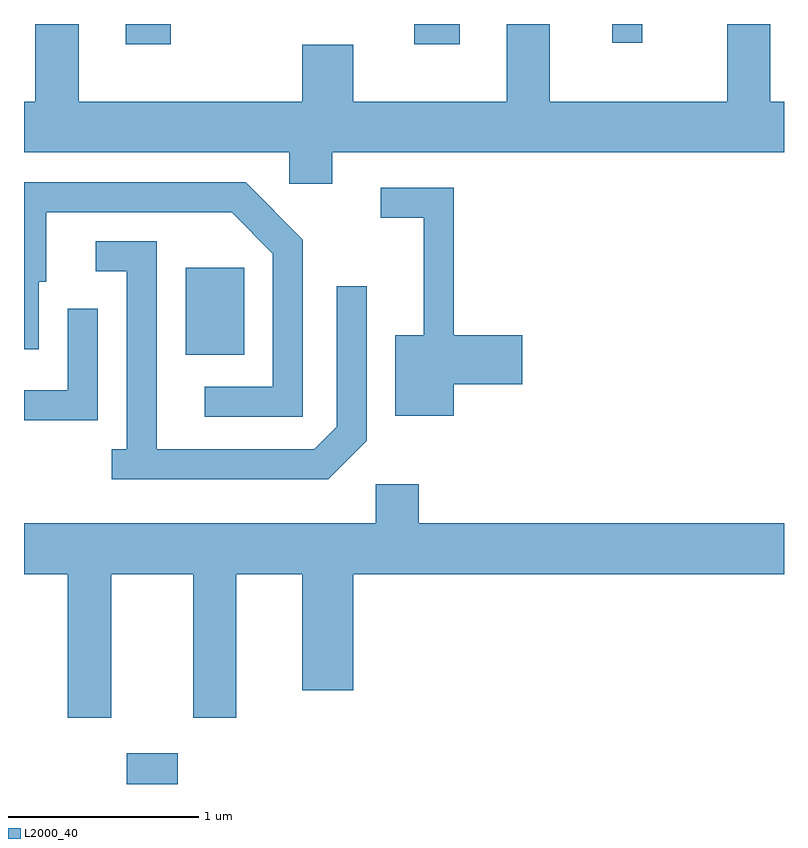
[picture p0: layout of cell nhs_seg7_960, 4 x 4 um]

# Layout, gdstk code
import gdstk
lib = gdstk.Library(unit=1e-6, precision=1e-09)
def R(c, l, rs):  # rectangles x0, y0, x1, y1
    for r in rs: c.add(gdstk.rectangle(r[:2], r[2:], *l))
def P(c, l, *ps):  # polygons
    for p in ps: c.add(gdstk.Polygon(p, *l))
L2000_40 = (2000, 40)

nhs_seg7_960 = lib.new_cell('nhs_seg7_960')
R(nhs_seg7_960, L2000_40, [(214.151,1784.252,214.419,1784.414), (214.461,1786.511,214.769,1786.969), (214.146,1788.146,214.384,1788.252), (215.666,1788.146,215.904,1788.252), (216.706,1788.153,216.864,1788.252)])
P(nhs_seg7_960, L2000_40, [(215.234,1787.576),(217.611,1787.576),(217.611,1787.844),(217.539,1787.844),(217.539,1788.252),(217.311,1788.252),(217.311,1787.844),(216.379,1787.844),(216.379,1788.252),(216.151,1788.252),(216.151,1787.844),(215.344,1787.844),(215.344,1788.144),(215.076,1788.144),(215.076,1787.844),(213.899,1787.844),(213.899,1788.252),(213.671,1788.252),(213.671,1787.844),(213.611,1787.844),(213.611,1787.576),(215.006,1787.576),(215.006,1787.411),(215.234,1787.411)],
  [(215.079,1787.117),(214.777,1787.419),(213.611,1787.419),(213.611,1786.541),(213.689,1786.541),(213.689,1786.896),(213.729,1786.896),(213.729,1787.261),(214.704,1787.261),(214.921,1787.044),(214.921,1786.344),(214.563,1786.344),(214.563,1786.186),(215.079,1786.186)],
  [(215.874,1786.356),(216.234,1786.356),(216.234,1786.614),(215.874,1786.614),(215.874,1787.389),(215.488,1787.389),(215.488,1787.231),(215.716,1787.231),(215.716,1786.614),(215.566,1786.614),(215.566,1786.191),(215.874,1786.191)],
  [(215.414,1786.059),(215.414,1786.873),(215.256,1786.873),(215.256,1786.132),(215.139,1786.014),(214.309,1786.014),(214.309,1787.109),(213.988,1787.109),(213.988,1786.951),(214.151,1786.951),(214.151,1786.014),(214.073,1786.014),(214.073,1785.856),(215.212,1785.856)],
  [(213.999,1786.753),(213.841,1786.753),(213.841,1786.324),(213.611,1786.324),(213.611,1786.166),(213.999,1786.166)],
  [(214.069,1785.356),(214.501,1785.356),(214.501,1784.601),(214.729,1784.601),(214.729,1785.356),(215.076,1785.356),(215.076,1784.746),(215.344,1784.746),(215.344,1785.356),(217.611,1785.356),(217.611,1785.624),(215.689,1785.624),(215.689,1785.829),(215.461,1785.829),(215.461,1785.624),(213.611,1785.624),(213.611,1785.356),(213.841,1785.356),(213.841,1784.601),(214.069,1784.601)])

lib.write_gds('nhs_seg7_960.gds')
